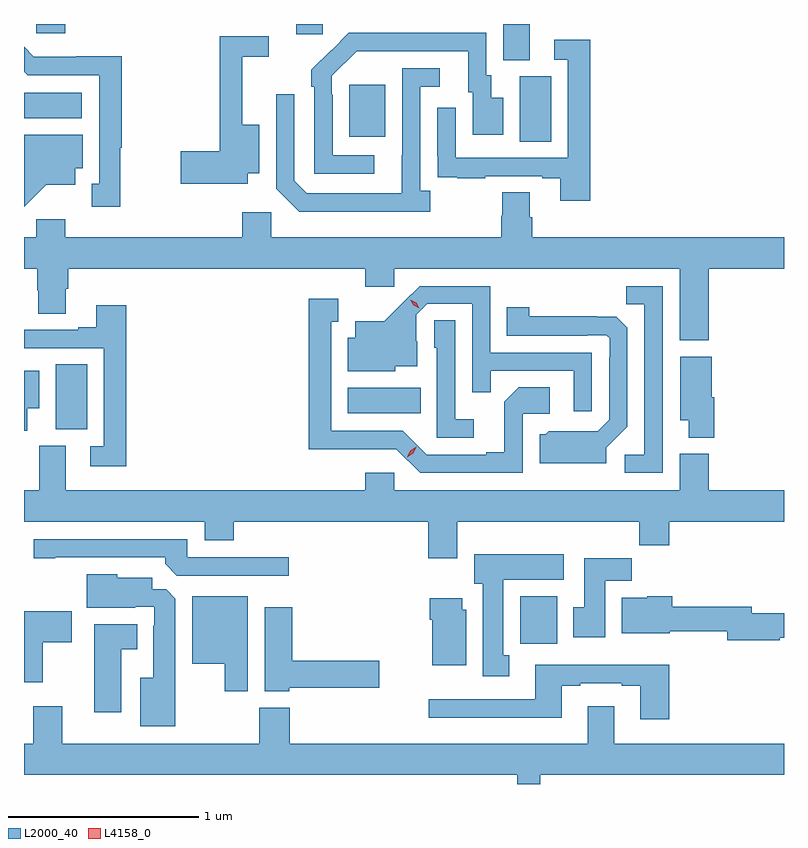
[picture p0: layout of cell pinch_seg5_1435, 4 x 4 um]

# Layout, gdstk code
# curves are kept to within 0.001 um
import gdstk
lib = gdstk.Library(unit=1e-6, precision=1e-09)
def R(c, l, rs):  # rectangles x0, y0, x1, y1
    for r in rs: c.add(gdstk.rectangle(r[:2], r[2:], *l))
def P(c, l, *ps):  # polygons
    for p in ps: c.add(gdstk.Polygon(p, *l))
L2000_40 = (2000, 40)
L4158_0 = (4158, 0)

pinch_seg5_1435 = lib.new_cell('pinch_seg5_1435')
R(pinch_seg5_1435, L2000_40, [(139.611,890.748,139.807,890.998), (137.168,891.877,137.332,892.22), (138.704,891.962,139.088,892.096), (139.61,893.392,139.774,893.736), (138.713,893.417,138.901,893.692), (137,893.516,137.305,893.65), (139.523,893.821,139.663,894.011), (138.434,893.958,138.573,894.011), (137.064,893.963,137.216,894.011)])
P(pinch_seg5_1435, L2000_40, [(138.844,893.319),(138.624,893.319),(138.624,893.639),(138.621,893.639),(138.621,893.739),(138.75,893.868),(139.337,893.868),(139.337,893.652),(139.361,893.652),(139.361,893.427),(139.522,893.427),(139.522,893.623),(139.459,893.623),(139.459,893.742),(139.434,893.742),(139.434,893.964),(138.71,893.964),(138.513,893.769),(138.513,893.681),(138.528,893.681),(138.528,893.223),(138.844,893.223)],
  [(138.178,893.225),(138.238,893.225),(138.238,893.482),(138.149,893.482),(138.149,893.838),(138.289,893.838),(138.289,893.946),(138.031,893.946),(138.031,893.342),(137.826,893.342),(137.826,893.171),(138.178,893.171)],
  [(139.979,893.929),(139.791,893.929),(139.791,893.823),(139.863,893.823),(139.863,893.307),(139.272,893.307),(139.272,893.569),(139.176,893.569),(139.176,893.314),(139.177,893.314),(139.177,893.205),(139.279,893.205),(139.279,893.199),(139.427,893.199),(139.427,893.211),(139.727,893.211),(139.727,893.199),(139.823,893.199),(139.823,893.082),(139.979,893.082)],
  [(137.507,893.361),(137.515,893.361),(137.515,893.84),(137.274,893.84),(137.274,893.838),(137.052,893.838),(137,893.89),(137,893.761),(137.019,893.742),(137.396,893.742),(137.396,893.169),(137.357,893.169),(137.357,893.049),(137.507,893.049)],
  [(139.138,893.134),(139.086,893.134),(139.086,893.682),(139.189,893.682),(139.189,893.778),(138.99,893.778),(138.989,893.121),(138.489,893.121),(138.423,893.187),(138.423,893.641),(138.327,893.641),(138.327,893.145),(138.448,893.024),(139.138,893.024)],
  [(137.014,893.063),(137.117,893.165),(137.269,893.165),(137.269,893.252),(137.308,893.252),(137.308,893.428),(137,893.428),(137,893.049)],
  [(140.603,892.724),(141,892.724),(141,892.888),(139.676,892.888),(139.676,892.994),(139.663,892.994),(139.663,893.126),(139.516,893.126),(139.516,893.001),(139.511,893.001),(139.511,892.888),(138.3,892.888),(138.3,893.02),(138.149,893.02),(138.149,892.888),(137.216,892.888),(137.216,892.984),(137.064,892.984),(137.064,892.888),(137,892.888),(137,892.724),(137.069,892.724),(137.069,892.611),(137.074,892.611),(137.074,892.486),(137.221,892.486),(137.221,892.618),(137.234,892.618),(137.234,892.724),(138.797,892.724),(138.797,892.629),(138.948,892.629),(138.948,892.724),(140.45,892.724),(140.45,892.346),(140.603,892.346)],
  [(139.989,892.281),(139.455,892.281),(139.455,892.632),(139.082,892.632),(138.895,892.447),(138.743,892.447),(138.743,892.36),(138.704,892.36),(138.704,892.184),(138.954,892.184),(138.954,892.211),(139.069,892.211),(139.069,892.34),(139.065,892.34),(139.065,892.482),(139.122,892.539),(139.359,892.539),(139.359,892.072),(139.457,892.072),(139.457,892.185),(139.893,892.185),(139.893,891.972),(139.989,891.972)],
  [(140.361,892.632),(140.17,892.632),(140.17,892.537),(140.265,892.537),(140.265,891.744),(140.163,891.744),(140.163,891.648),(140.361,891.648)],
  [(139.626,891.96),(139.768,891.96),(139.768,892.1),(139.603,892.1),(139.527,892.024),(139.527,891.757),(139.433,891.757),(139.433,891.744),(139.119,891.744),(138.993,891.87),(138.616,891.87),(138.616,892.443),(138.655,892.443),(138.655,892.564),(138.498,892.564),(138.498,891.773),(138.96,891.774),(139.086,891.648),(139.626,891.648)],
  [(137.537,892.531),(137.381,892.531),(137.381,892.414),(137.285,892.414),(137.285,892.401),(137,892.401),(137,892.305),(137.421,892.305),(137.421,891.789),(137.349,891.789),(137.349,891.684),(137.537,891.684)],
  [(140.065,891.78),(140.175,891.89),(140.175,892.412),(140.116,892.471),(139.659,892.472),(139.659,892.519),(139.54,892.519),(139.54,892.371),(139.964,892.371),(139.964,892.374),(140.064,892.374),(140.082,892.356),(140.082,892.256),(140.079,892.256),(140.079,891.927),(140.019,891.867),(139.762,891.868),(139.746,891.852),(139.715,891.852),(139.715,891.698),(140.065,891.698)],
  [(139.366,891.931),(139.269,891.931),(139.269,892.451),(139.158,892.451),(139.158,892.308),(139.173,892.308),(139.173,891.834),(139.366,891.834)],
  [(140.633,892.047),(140.62,892.047),(140.62,892.261),(140.453,892.261),(140.453,891.926),(140.498,891.926),(140.498,891.833),(140.633,891.833)],
  [(137.017,891.989),(137.08,891.989),(137.08,892.186),(137,892.186),(137,891.87),(137.017,891.87)],
  [(139.279,891.392),(140.239,891.392),(140.239,891.268),(140.396,891.268),(140.396,891.392),(141,891.392),(141,891.556),(140.603,891.556),(140.603,891.748),(140.45,891.748),(140.45,891.556),(138.948,891.556),(138.948,891.649),(138.797,891.649),(138.797,891.556),(137.221,891.556),(137.221,891.792),(137.081,891.792),(137.081,891.556),(137,891.556),(137,891.392),(137.951,891.392),(137.951,891.293),(138.104,891.293),(138.104,891.392),(139.127,891.392),(139.127,891.198),(139.279,891.198)],
  [(138.394,891.204),(137.859,891.204),(137.859,891.3),(137.052,891.3),(137.052,891.199),(137.164,891.199),(137.164,891.204),(137.744,891.204),(137.744,891.17),(137.805,891.108),(138.394,891.108)],
  [(139.555,890.689),(139.522,890.689),(139.522,891.086),(139.84,891.086),(139.84,891.22),(139.37,891.22),(139.37,891.066),(139.415,891.066),(139.415,890.577),(139.555,890.577)],
  [(140.059,891.08),(140.198,891.08),(140.198,891.199),(139.949,891.199),(139.949,890.94),(139.892,890.94),(139.892,890.784),(140.059,890.784)],
  [(137.797,890.987),(137.748,891.036),(137.674,891.036),(137.674,891.097),(137.49,891.097),(137.49,891.115),(137.33,891.115),(137.33,890.939),(137.585,890.939),(137.585,890.943),(137.685,890.943),(137.685,890.843),(137.681,890.843),(137.681,890.569),(137.612,890.569),(137.612,890.315),(137.797,890.315)],
  [(140.978,890.78),(141,890.78),(141,890.91),(140.83,890.91),(140.83,890.944),(140.411,890.944),(140.411,890.998),(140.28,890.998),(140.28,890.992),(140.147,890.992),(140.147,890.804),(140.398,890.804),(140.398,890.815),(140.702,890.815),(140.702,890.768),(140.978,890.768)],
  [(138.178,890.998),(137.885,890.998),(137.885,890.645),(138.056,890.645),(138.056,890.499),(138.178,890.499)],
  [(139.327,890.928),(139.306,890.928),(139.306,890.989),(139.136,890.989),(139.136,890.876),(139.148,890.876),(139.148,890.636),(139.327,890.636)],
  [(138.396,890.518),(138.871,890.518),(138.871,890.66),(138.413,890.66),(138.413,890.941),(138.266,890.941),(138.266,890.498),(138.396,890.498)],
  [(137.098,890.758),(137.251,890.758),(137.251,890.92),(137,890.92),(137,890.547),(137.098,890.547)],
  [(137.512,890.72),(137.596,890.72),(137.596,890.851),(137.369,890.851),(137.369,890.388),(137.512,890.388)],
  [(140.396,890.638),(139.691,890.638),(139.691,890.457),(139.131,890.457),(139.131,890.36),(139.831,890.36),(139.831,890.529),(139.927,890.529),(139.927,890.541),(140.147,890.541),(140.147,890.529),(140.243,890.529),(140.243,890.352),(140.396,890.352)],
  [(141,890.224),(140.107,890.224),(140.107,890.419),(139.967,890.419),(139.967,890.224),(138.398,890.224),(138.398,890.413),(138.238,890.413),(138.238,890.224),(137.2,890.224),(137.2,890.419),(137.048,890.419),(137.048,890.224),(137,890.224),(137,890.06),(139.595,890.06),(139.595,890.011),(139.717,890.011),(139.717,890.06),(141,890.06)])
P(pinch_seg5_1435, L4158_0, [(139.081,892.514),(139.05,892.53),(139.033,892.559),(139.033,892.56),(139.033,892.56),(139.064,892.544),(139.081,892.515),(139.081,892.514)],
  [(139.016,891.732),(139.016,891.733),(139.033,891.766),(139.064,891.785),(139.064,891.785),(139.064,891.785),(139.048,891.752),(139.016,891.732)])

lib.write_gds('pinch_seg5_1435.gds')
